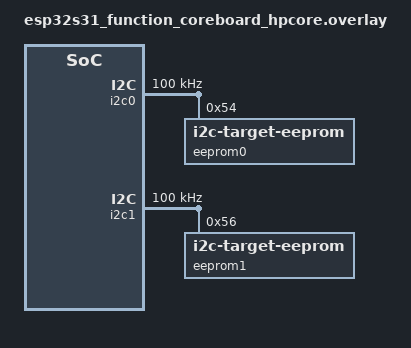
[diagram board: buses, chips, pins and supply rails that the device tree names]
/*
 * Copyright (c) 2026 Espressif Systems (Shanghai) Co., Ltd.
 *
 * SPDX-License-Identifier: Apache-2.0
 */

&pinctrl {
	i2c0_default: i2c0_default {
		group1 {
			pinmux = <I2C0_SDA_GPIO38>,
				 <I2C0_SCL_GPIO42>;
			bias-pull-up;
			drive-open-drain;
			output-high;
		};
	};

	i2c1_default: i2c1_default {
		group1 {
			pinmux = <I2C1_SDA_GPIO39>,
				 <I2C1_SCL_GPIO40>;
			bias-pull-up;
			drive-open-drain;
			output-high;
		};
	};
};

&i2c0 {
	clock-frequency = <I2C_BITRATE_STANDARD>;
	status = "okay";

	eeprom0: eeprom@54 {
		compatible = "zephyr,i2c-target-eeprom";
		reg = <0x54>;
		size = <256>;
	};
};

&i2c1 {
	clock-frequency = <I2C_BITRATE_STANDARD>;
	pinctrl-0 = <&i2c1_default>;
	pinctrl-names = "default";
	status = "okay";

	eeprom1: eeprom@56 {
		compatible = "zephyr,i2c-target-eeprom";
		reg = <0x56>;
		size = <256>;
	};
};
